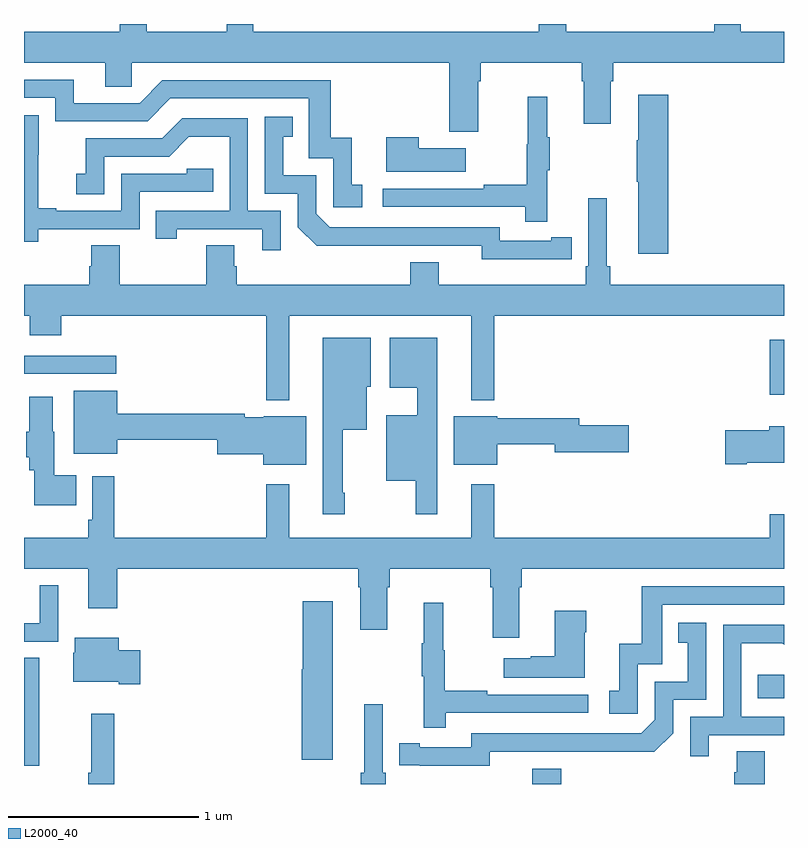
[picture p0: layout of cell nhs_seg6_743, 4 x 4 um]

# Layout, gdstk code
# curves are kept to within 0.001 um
import gdstk
lib = gdstk.Library(unit=1e-6, precision=1e-09)
def R(c, l, rs):  # rectangles x0, y0, x1, y1
    for r in rs: c.add(gdstk.rectangle(r[:2], r[2:], *l))
def P(c, l, *ps):  # polygons
    for p in ps: c.add(gdstk.Polygon(p, *l))
L2000_40 = (2000, 40)

nhs_seg6_743 = lib.new_cell('nhs_seg6_743')
R(nhs_seg6_743, L2000_40, [(159.674,983.5,159.827,983.581), (157,983.595,157.081,984.164), (160.861,983.952,161,984.075), (160.925,985.55,161,985.837), (157,985.659,157.486,985.755)])
P(nhs_seg6_743, L2000_40, [(159.391,987.2),(159.404,987.2),(159.404,987.296),(159.935,987.296),(159.935,987.2),(159.947,987.2),(159.947,986.976),(160.087,986.976),(160.087,987.2),(160.1,987.2),(160.1,987.296),(161,987.296),(161,987.46),(160.773,987.46),(160.773,987.5),(160.634,987.5),(160.634,987.46),(159.855,987.46),(159.855,987.5),(159.708,987.5),(159.708,987.46),(158.206,987.46),(158.206,987.5),(158.066,987.5),(158.066,987.46),(157.645,987.46),(157.645,987.5),(157.505,987.5),(157.505,987.46),(157,987.46),(157,987.296),(157.427,987.296),(157.427,987.169),(157.566,987.169),(157.566,987.296),(159.239,987.296),(159.239,986.934),(159.391,986.934)],
  [(158.779,986.655),(158.726,986.655),(158.726,986.902),(158.615,986.902),(158.615,987.204),(157.728,987.204),(157.608,987.084),(157.261,987.084),(157.261,987.207),(157,987.207),(157,987.111),(157.164,987.111),(157.164,986.988),(157.65,986.988),(157.77,987.108),(158.499,987.108),(158.499,986.793),(158.628,986.793),(158.628,986.535),(158.779,986.535)],
  [(160.391,987.127),(160.232,987.127),(160.232,986.888),(160.225,986.888),(160.225,986.671),(160.232,986.671),(160.232,986.292),(160.391,986.292)],
  [(159.755,986.731),(159.766,986.731),(159.766,986.905),(159.755,986.905),(159.755,987.118),(159.652,987.118),(159.652,986.868),(159.645,986.868),(159.645,986.654),(159.421,986.654),(159.421,986.634),(158.889,986.634),(158.889,986.538),(159.637,986.538),(159.637,986.46),(159.755,986.46)],
  [(157.074,986.421),(157.608,986.421),(157.608,986.616),(157.997,986.616),(157.997,986.739),(157.857,986.739),(157.857,986.712),(157.512,986.712),(157.512,986.517),(157.171,986.517),(157.171,986.53),(157.076,986.53),(157.076,986.813),(157.077,986.813),(157.077,987.019),(157,987.019),(157,986.353),(157.074,986.353)],
  [(159.776,986.262),(159.884,986.262),(159.884,986.378),(159.776,986.378),(159.776,986.358),(159.504,986.358),(159.504,986.43),(158.61,986.43),(158.538,986.502),(158.538,986.703),(158.365,986.703),(158.365,986.907),(158.414,986.907),(158.414,987.013),(158.268,987.013),(158.268,986.607),(158.442,986.607),(158.442,986.43),(158.54,986.333),(159.408,986.334),(159.408,986.261)],
  [(158.352,986.517),(158.178,986.517),(158.178,987.003),(157.832,987.003),(157.727,986.898),(157.324,986.898),(157.324,986.713),(157.275,986.713),(157.275,986.604),(157.422,986.604),(157.422,986.802),(157.764,986.802),(157.868,986.906),(158.082,986.906),(158.082,986.517),(157.693,986.517),(157.693,986.37),(157.804,986.37),(157.804,986.421),(158.255,986.421),(158.255,986.31),(158.352,986.31)],
  [(159.325,986.845),(159.077,986.845),(159.077,986.905),(158.906,986.905),(158.906,986.723),(159.325,986.723)],
  [(158.12,986.226),(158.107,986.226),(158.107,986.336),(157.96,986.336),(157.96,986.128),(157.503,986.128),(157.503,986.336),(157.355,986.336),(157.355,986.226),(157.343,986.226),(157.343,986.128),(157,986.128),(157,985.964),(157.031,985.964),(157.031,985.862),(157.196,985.862),(157.196,985.964),(158.274,985.964),(158.274,985.52),(158.395,985.52),(158.395,985.964),(159.353,985.964),(159.353,985.52),(159.475,985.52),(159.475,985.964),(161,985.964),(161,986.128),(160.085,986.128),(160.085,986.224),(160.066,986.224),(160.066,986.584),(159.969,986.584),(159.969,986.224),(159.956,986.224),(159.956,986.128),(159.184,986.128),(159.184,986.245),(159.032,986.245),(159.032,986.128),(158.12,986.128)],
  [(158.687,985.033),(158.677,985.033),(158.677,985.364),(158.803,985.364),(158.803,985.59),(158.824,985.59),(158.824,985.849),(158.573,985.849),(158.573,984.921),(158.687,984.921)],
  [(159.175,985.849),(158.924,985.849),(158.924,985.586),(159.071,985.586),(159.071,985.441),(158.906,985.441),(158.906,985.097),(159.061,985.097),(159.061,984.921),(159.175,984.921)],
  [(158.485,985.435),(158.262,985.435),(158.262,985.429),(158.162,985.429),(158.162,985.448),(157.492,985.448),(157.492,985.57),(157.262,985.57),(157.262,985.238),(157.492,985.238),(157.492,985.312),(158.018,985.312),(158.018,985.235),(158.258,985.235),(158.258,985.181),(158.485,985.181)],
  [(157.274,985.126),(157.159,985.126),(157.159,985.353),(157.15,985.353),(157.15,985.537),(157.028,985.537),(157.028,985.353),(157.013,985.353),(157.013,985.221),(157.028,985.221),(157.028,985.152),(157.055,985.152),(157.055,984.968),(157.274,984.968)],
  [(159.49,985.288),(159.794,985.288),(159.794,985.246),(160.183,985.246),(160.183,985.388),(159.922,985.388),(159.922,985.424),(159.49,985.424),(159.49,985.435),(159.263,985.435),(159.263,985.181),(159.49,985.181)],
  [(160.804,985.19),(161,985.19),(161,985.384),(160.922,985.384),(160.922,985.361),(160.692,985.361),(160.692,985.183),(160.804,985.183)],
  [(159.607,984.536),(159.62,984.536),(159.62,984.632),(161,984.632),(161,984.92),(160.925,984.92),(160.925,984.796),(159.475,984.796),(159.475,985.078),(159.353,985.078),(159.353,984.796),(158.395,984.796),(158.395,985.078),(158.274,985.078),(158.274,984.796),(157.475,984.796),(157.475,985.12),(157.359,985.12),(157.359,984.892),(157.339,984.892),(157.339,984.796),(157,984.796),(157,984.632),(157.337,984.632),(157.337,984.426),(157.49,984.426),(157.49,984.632),(158.759,984.632),(158.759,984.536),(158.771,984.536),(158.771,984.312),(158.911,984.312),(158.911,984.536),(158.924,984.536),(158.924,984.632),(159.455,984.632),(159.455,984.536),(159.467,984.536),(159.467,984.27),(159.607,984.27)],
  [(157.18,984.547),(157.082,984.547),(157.082,984.345),(157,984.345),(157,984.249),(157.18,984.249)],
  [(160.23,984.129),(160.359,984.129),(160.359,984.444),(161,984.444),(161,984.54),(160.251,984.54),(160.251,984.238),(160.133,984.238),(160.133,983.991),(160.08,983.991),(160.08,983.871),(160.23,983.871)],
  [(158.626,984.463),(158.468,984.463),(158.468,984.105),(158.462,984.105),(158.462,983.628),(158.626,983.628)],
  [(159.221,983.874),(159.97,983.874),(159.97,983.97),(159.437,983.97),(159.437,983.99),(159.214,983.99),(159.214,984.204),(159.206,984.204),(159.206,984.454),(159.104,984.454),(159.104,984.241),(159.093,984.241),(159.093,984.067),(159.104,984.067),(159.104,983.796),(159.221,983.796)],
  [(159.952,984.299),(159.96,984.299),(159.96,984.412),(159.794,984.412),(159.794,984.173),(159.668,984.173),(159.668,984.163),(159.525,984.163),(159.525,984.059),(159.952,984.059)],
  [(159.45,983.67),(160.318,983.669),(160.416,983.766),(160.416,983.943),(160.59,983.943),(160.59,984.349),(160.444,984.349),(160.444,984.243),(160.493,984.243),(160.493,984.039),(160.32,984.039),(160.32,983.838),(160.248,983.766),(159.354,983.766),(159.354,983.694),(159.082,983.694),(159.082,983.714),(158.974,983.714),(158.974,983.598),(159.45,983.597)],
  [(160.603,983.757),(161,983.757),(161,983.853),(160.776,983.853),(160.776,984.242),(160.99,984.242),(161,984.232),(161,984.339),(160.68,984.339),(160.68,983.853),(160.506,983.853),(160.506,983.646),(160.603,983.646)],
  [(157.612,984.204),(157.498,984.204),(157.498,984.271),(157.268,984.271),(157.268,984.192),(157.259,984.192),(157.259,984.038),(157.499,984.038),(157.499,984.026),(157.612,984.026)],
  [(158.903,983.56),(158.889,983.56),(158.889,983.92),(158.792,983.92),(158.792,983.56),(158.773,983.56),(158.773,983.5),(158.903,983.5)],
  [(157.475,983.869),(157.354,983.869),(157.354,983.56),(157.339,983.56),(157.339,983.5),(157.475,983.5)],
  [(160.899,983.672),(160.751,983.672),(160.751,983.562),(160.739,983.562),(160.739,983.5),(160.899,983.5)])

lib.write_gds('nhs_seg6_743.gds')
